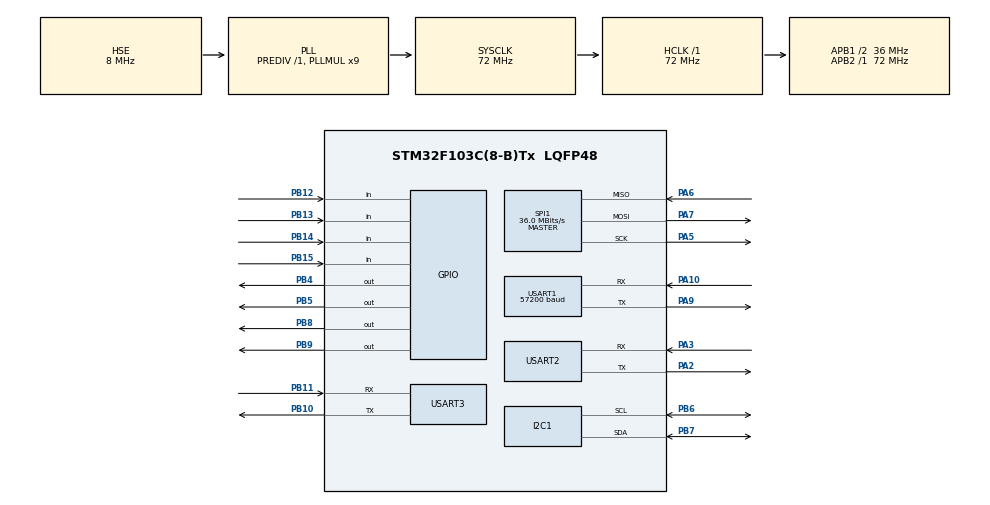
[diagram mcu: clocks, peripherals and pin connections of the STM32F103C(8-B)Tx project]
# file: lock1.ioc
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I2C1.I2C_Mode=I2C_Fast
Mcu.Family=STM32F1
Mcu.Name=STM32F103C(8-B)Tx
Mcu.Package=LQFP48
NVIC.PriorityGroup=NVIC_PRIORITYGROUP_4
NVIC.TIM3_IRQn=true\:0\:0\:false\:false\:true\:true\:true\:true
NVIC.USART1_IRQn=true\:0\:0\:false\:false\:true\:true\:true\:true
NVIC.USART2_IRQn=true\:0\:0\:false\:false\:true\:true\:true\:true
NVIC.USART3_IRQn=true\:0\:0\:false\:false\:true\:true\:true\:true
PA10.Mode=Asynchronous
PA10.Signal=USART1_RX
PA13.Mode=Serial_Wire
PA13.Signal=SYS_JTMS-SWDIO
PA14.Mode=Serial_Wire
PA14.Signal=SYS_JTCK-SWCLK
PA2.Mode=Asynchronous
PA2.Signal=USART2_TX
PA3.Mode=Asynchronous
PA3.Signal=USART2_RX
PA5.Mode=Full_Duplex_Master
PA5.Signal=SPI1_SCK
PA6.Mode=Full_Duplex_Master
PA6.Signal=SPI1_MISO
PA7.Mode=Full_Duplex_Master
PA7.Signal=SPI1_MOSI
PA9.Mode=Asynchronous
PA9.Signal=USART1_TX
PB10.Mode=Asynchronous
PB10.Signal=USART3_TX
PB11.Mode=Asynchronous
PB11.Signal=USART3_RX
PB12.Signal=GPIO_Input
PB13.Signal=GPIO_Input
PB14.Signal=GPIO_Input
PB15.Signal=GPIO_Input
PB4.GPIO_PuPd=GPIO_PULLUP
PB4.Signal=GPIO_Output
PB5.GPIO_PuPd=GPIO_PULLUP
PB5.Signal=GPIO_Output
PB6.Mode=I2C
PB6.Signal=I2C1_SCL
PB7.Mode=I2C
PB7.Signal=I2C1_SDA
PB8.GPIO_PuPd=GPIO_PULLUP
PB8.Signal=GPIO_Output
PB9.GPIO_PuPd=GPIO_PULLUP
PB9.Signal=GPIO_Output
PD0-OSC_IN.Mode=HSE-External-Oscillator
PD0-OSC_IN.Signal=RCC_OSC_IN
PD1-OSC_OUT.Mode=HSE-External-Oscillator
PD1-OSC_OUT.Signal=RCC_OSC_OUT
ProjectManager.HeapSize=0x200
ProjectManager.StackSize=0x400
ProjectManager.TargetToolchain=STM32CubeIDE
RCC.AHBFreq_Value=72000000
RCC.APB1CLKDivider=RCC_HCLK_DIV2
RCC.APB1Freq_Value=36000000
RCC.APB1TimFreq_Value=72000000
RCC.APB2Freq_Value=72000000
RCC.APB2TimFreq_Value=72000000
RCC.HCLKFreq_Value=72000000
RCC.PLLMUL=RCC_PLL_MUL9
RCC.PLLSourceVirtual=RCC_PLLSOURCE_HSE
RCC.SYSCLKFreq_VALUE=72000000
RCC.SYSCLKSource=RCC_SYSCLKSOURCE_PLLCLK
RCC.USBFreq_Value=72000000
SPI1.BaudRatePrescaler=SPI_BAUDRATEPRESCALER_2
SPI1.CalculateBaudRate=36.0 MBits/s
SPI1.Direction=SPI_DIRECTION_2LINES
SPI1.Mode=SPI_MODE_MASTER
SPI1.VirtualType=VM_MASTER
TIM3.Period=1000-1
TIM3.Prescaler=7200-1
USART1.BaudRate=57200
USART1.VirtualMode=VM_ASYNC
USART2.VirtualMode=VM_ASYNC
USART3.VirtualMode=VM_ASYNC
VP_RTC_VS_RTC_Activate.Mode=RTC_Enabled
VP_TIM3_VS_ClockSourceINT.Mode=Internal
board=custom

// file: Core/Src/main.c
/* USER CODE BEGIN Header */
#include "main.h"
#include "i2c.h"
#include "rtc.h"
#include "spi.h"
#include "tim.h"
#include "usart.h"
#include "gpio.h"

/* USER CODE BEGIN Includes */
#include "oled.h"
#include "as608.h"
#include "stdio.h"
#include "onenet.h"
#include "esp8266.h"
#include "key.h"
#include "rc522.h"
#include "delay.h"
#include "at24c02.h"
#include "ds1302.h"
#include "Relay.h"
#include "Beep.h"
#include "menu_system.h"
#include <string.h>
#include <stdbool.h>
#include "main_interface.h"
#include "system_state.h"
#include "soft_timer.h"
/* USER CODE END Includes */

uint8_t default_time[TIME_SUM] = {0, 30, 15, 5, 4, 7, 26};

/* Private variables */
extern unsigned char esp8266_buf[512];
extern short esp8266_cnt, esp8266_cntPre;
uint8_t rx_temp;
uint8_t rx_temp_uart3;

SystemState sys_state = STATE_MAIN_IDLE;
uint8_t admin_logged_in = 0;
uint32_t menu_idle_timeout = 0;
uint32_t last_main_refresh = 0;

// 指纹相关状态（原注释状态机已删除，只保留中断标志）
extern volatile uint8_t finger_touch_flag;   // 实际定义在 as608.c 中，此处声明为 extern? 确认 as608.c 定义了一次，这里不能重复定义。我们只做 extern 引用。
// 但原来 main.c 中重复定义了？会导致冲突。我们应该在 main.c 中删除这个定义，改为 extern 声明。
// 为保持兼容，main.c 中不定义 finger_touch_flag，在 as608.c 中定义。所以删除这一行。
// 下面已有的变量：
static uint8_t last_reported_lock_flag = 0xFF;
static uint32_t last_report_tick = 0;
uint8_t lock_flag = 0;
uint8_t g_user_pwd_err_cnt = 0;
uint16_t ID_NUM_store = 0;
uint8_t add_flag = 0;
SoftTimer auto_lock_timer;
uint8_t auto_lock_pending = 0;

extern void Add_FR(void);
extern void Store_Load(void);
extern void RC522_CheckVersion(void);
extern void test_fingerprint(void);
extern char PcdHalt(void);

void SystemClock_Config(void);
void Error_Handler(void);

/**
 * @brief  主函数
 */
int main(void) {
   HAL_Init();
    SystemClock_Config();

    /* ---------- 外设初始化 ---------- */
    MX_GPIO_Init();
    MX_I2C1_Init();
    MX_RTC_Init();
    MX_USART1_UART_Init();
    MX_USART3_UART_Init();
    MX_TIM3_Init();
    MX_SPI1_Init();
    MX_USART2_UART_Init();

    /* ---------- OLED 初始化 ---------- */
    OLED_Init();
    OLED_CLS();
    OLED_ShowStr(0, 0, "OLED OK", 1);
    OLED_Update();
    HAL_Delay(300);

    /* ---------- 继电器初始化 ---------- */
    Relay_Init();
    OLED_ShowStr(0, 16, "Relay OK", 1);
    OLED_Update();
    HAL_Delay(300);

    /* ---------- 蜂鸣器初始化 ---------- */
    Beep_Init();
    OLED_ShowStr(0, 24, "Beep OK", 1);
    OLED_Update();
    HAL_Delay(300);

    /* ---------- 按键初始化 ---------- */
    Key_GPIO_Init();
    OLED_ShowStr(0, 32, "Key OK", 1);
    OLED_Update();
    HAL_Delay(300);

    /* ---------- RC522 初始化 ---------- */
    OLED_ShowStr(0, 40, "RC522 Init...", 1);
    OLED_Update();
    RC522_Init();
    OLED_ShowStr(0, 40, "RC522 OK", 1);
    OLED_Update();
    HAL_Delay(300);

    /* ---------- 指纹模块初始化 ---------- */
    PS_StaGPIO_Init();
    uint32_t addr;
    if (PS_HandShake(&addr) == 0) {
        AS608Addr = addr;
        OLED_ShowStr(0, 48, "AS608 OK", 1);
    } else {
        OLED_ShowStr(0, 48, "AS608 Fail", 1);
    }
    OLED_Update();
    HAL_Delay(300);

    /* ---------- DS1302 时钟初始化 ---------- */
    DS1302_Init();
    DS1302_InitIfNeeded(default_time);
    OLED_CLS();
    OLED_ShowStr(0, 0, "RTC OK", 1);
    OLED_Update();
    HAL_Delay(300);

    /* ---------- EEPROM 加载指纹槽位 ---------- */
    LoadFingerSlotUsage();
    OLED_ShowStr(0, 8, "EEPROM OK", 1);
    OLED_Update();
    HAL_Delay(300);

    /* ---------- 日志系统初始化 ---------- */
    Log_Init();
    OLED_ShowStr(0, 16, "Log OK", 1);
    OLED_Update();
    HAL_Delay(300);

    /* ---------- 串口接收中断启动 ---------- */
    HAL_UART_Receive_IT(&huart2, &rx_temp, 1);
    HAL_UART_Receive_IT(&huart3, &rx_temp_uart3, 1);
    OLED_ShowStr(0, 24, "UART IT OK", 1);
    OLED_Update();
    HAL_Delay(300);

    /* ---------- WiFi 初始化 ---------- */
    OLED_ShowStr(0, 32, "WiFi Init...", 1);
    OLED_Update();
    ESP8266_Init();
    OLED_ShowStr(0, 32, "WiFi OK", 1);
    OLED_Update();
    HAL_Delay(300);

    /* ---------- MQTT 连接 OneNET ---------- */
    OLED_ShowStr(0, 40, "MQTT Connect...", 1);
    OLED_Update();
    uint8_t retry = 5;
    _Bool mqtt_ok = 0;
    while (retry-- && !mqtt_ok) {
        mqtt_ok = (OneNet_DevLink() == 0);
        if (!mqtt_ok) HAL_Delay(3000);
    }
    if (mqtt_ok) {
        OLED_ShowStr(0, 40, "MQTT OK", 1);
        OneNET_Subscribe();
    } else {
        OLED_ShowStr(0, 40, "MQTT Fail", 1);
    }
    OLED_Update();
    HAL_Delay(500);

    /* ---------- 初始化菜单系统 ---------- */
    Menu_Init();
    sys_state = STATE_MAIN_IDLE;

    /* ---------- 所有外设初始化完毕，显示主界面 ---------- */
    OLED_CLS();
    MainInterface_Display();

    uint32_t ping_tick = HAL_GetTick();
    uint32_t data_tick = HAL_GetTick();

    /* 主循环 */
    while (1) {
        /* 自动锁定时器 */
        if (auto_lock_pending && SoftTimer_IsExpired(&auto_lock_timer)) {
            auto_lock_pending = 0;
            if (lock_flag == 1) {
                Relay_Off();
                lock_flag = 0;
                Beep_Alarm_Start(1);
                MainInterface_Display();
            }
        }
							static uint32_t last_sec_refresh = 0;
						if (HAL_GetTick() - last_sec_refresh >= 1000) {
								last_sec_refresh = HAL_GetTick();
								if (sys_state == STATE_MAIN_IDLE) {
										MainInterface_Display();
								}
						}
        /* 按键扫描 */
        uint16_t key = Key_scan();
        uint8_t long_press = Key_LongPressed();

        /* 刷卡检测 */
        CheckRfidCard();

        /* 指纹触摸中断处理 */
        if (finger_touch_flag && !admin_logged_in) {
            finger_touch_flag = 0;
            Verify_Fingerprint();
            if (sys_state == STATE_MAIN_IDLE) MainInterface_Display();
            else if (sys_state == STATE_MENU) Menu_Display();
        } else if (finger_touch_flag && admin_logged_in) {
            finger_touch_flag = 0;
        }

        /* 长按 # 管理员登录 */
        if (long_press == 13 && !admin_logged_in) {
            if (Admin_VerifyPassword()) {
                admin_logged_in = 1;
                sys_state = STATE_MENU;
                Menu_Init();
                menu_idle_timeout = HAL_GetTick() + 30000;
            } else {
                Beep_Alarm_Start(2);
                OLED_ShowStr(0, 56, "Admin Pwd Error", 1);
                OLED_Update();
                HAL_Delay(1000);
                MainInterface_Display();
            }
        }

        /* 主界面密码开锁 */
        if (sys_state == STATE_MAIN_IDLE && key == 16) {
            if (User_VerifyPassword()) Func_Unlock();
            else Beep_Alarm_Start(2);
        }

        /* 菜单界面按键 */
        if (sys_state == STATE_MENU) {
            if (!add_flag) {
                if (key != 0 && !Menu_IsReturnPending()) {
                    menu_idle_timeout = HAL_GetTick() + 30000;
                    switch (key) {
                        case 11: Menu_ProcessOp(MENU_OP_UP); break;
                        case 12: Menu_ProcessOp(MENU_OP_DOWN); break;
                        case 14: Menu_ProcessOp(MENU_OP_ENTER); break;
                        case 15: Menu_ProcessOp(MENU_OP_BACK); break;
                        default: Beep_Alarm_Start(1); break;
                    }
                }
                if (HAL_GetTick() > menu_idle_timeout && !Menu_IsReturnPending() && !add_flag) {
                    Func_AdminLogout();
                }
                Menu_Update();
            }
        }

        /* 门锁状态上报 */
        if (lock_flag != last_reported_lock_flag) {
            last_reported_lock_flag = lock_flag;
            last_report_tick = HAL_GetTick();
            OneNet_SendData();
        } else {
            if (HAL_GetTick() - last_report_tick >= 60000) {
                last_report_tick = HAL_GetTick();
                OneNet_SendData();
            }
        }

        /* MQTT 心跳 */
        if (HAL_GetTick() - ping_tick > 30000) {
            printf("Send ping...\r\n");
            OneNET_KeepAlive();
            ping_tick = HAL_GetTick();
        }

        /* 处理 ESP8266 数据 */
        uint8_t *ipd = ESP8266_GetIPD(1);
        if (ipd) {
            printf("IPD payload: %s\r\n", ipd);
            OneNet_RevPro(ipd);
        }
        if (esp8266_cnt > 0 && esp8266_cnt != esp8266_cntPre) {
            printf("Receiving: cnt=%d, cntPre=%d\r\n", esp8266_cnt, esp8266_cntPre);
        }

        /* 硬件更新 */
        Relay_Update();
        Beep_Update();

        HAL_Delay(10);
    }
}

/**
 * @brief  系统时钟配置
 */
void SystemClock_Config(void) {
    RCC_OscInitTypeDef RCC_OscInitStruct = {0};
    RCC_ClkInitTypeDef RCC_ClkInitStruct = {0};
    RCC_PeriphCLKInitTypeDef PeriphClkInit = {0};
    RCC_OscInitStruct.OscillatorType = RCC_OSCILLATORTYPE_LSI | RCC_OSCILLATORTYPE_HSE;
    RCC_OscInitStruct.HSEState = RCC_HSE_ON;
    RCC_OscInitStruct.HSEPredivValue = RCC_HSE_PREDIV_DIV1;
    RCC_OscInitStruct.HSIState = RCC_HSI_ON;
    RCC_OscInitStruct.LSIState = RCC_LSI_ON;
    RCC_OscInitStruct.PLL.PLLState = RCC_PLL_ON;
    RCC_OscInitStruct.PLL.PLLSource = RCC_PLLSOURCE_HSE;
    RCC_OscInitStruct.PLL.PLLMUL = RCC_PLL_MUL9;
    if (HAL_RCC_OscConfig(&RCC_OscInitStruct) != HAL_OK) Error_Handler();
    RCC_ClkInitStruct.ClockType = RCC_CLOCKTYPE_HCLK | RCC_CLOCKTYPE_SYSCLK
                                 | RCC_CLOCKTYPE_PCLK1 | RCC_CLOCKTYPE_PCLK2;
    RCC_ClkInitStruct.SYSCLKSource = RCC_SYSCLKSOURCE_PLLCLK;
    RCC_ClkInitStruct.AHBCLKDivider = RCC_SYSCLK_DIV1;
    RCC_ClkInitStruct.APB1CLKDivider = RCC_HCLK_DIV2;
    RCC_ClkInitStruct.APB2CLKDivider = RCC_HCLK_DIV1;
    if (HAL_RCC_ClockConfig(&RCC_ClkInitStruct, FLASH_LATENCY_2) != HAL_OK) Error_Handler();
    PeriphClkInit.PeriphClockSelection = RCC_PERIPHCLK_RTC;
    PeriphClkInit.RTCClockSelection = RCC_RTCCLKSOURCE_LSI;
    if (HAL_RCCEx_PeriphCLKConfig(&PeriphClkInit) != HAL_OK) Error_Handler();
}

/**
 * @brief  UART 接收完成回调
 */
void HAL_UART_RxCpltCallback(UART_HandleTypeDef *huart) {
    if (huart->Instance == USART2) {
        if (esp8266_cnt < sizeof(esp8266_buf) - 1) esp8266_buf[esp8266_cnt++] = rx_temp;
        HAL_UART_Receive_IT(&huart2, &rx_temp, 1);
    } else if (huart->Instance == USART3) {
        HAL_UART_Receive_IT(&huart3, &rx_temp_uart3, 1);
    }
}

/**
 * @brief  错误处理
 */
void Error_Handler(void) {
    __disable_irq();
    while (1);
}
